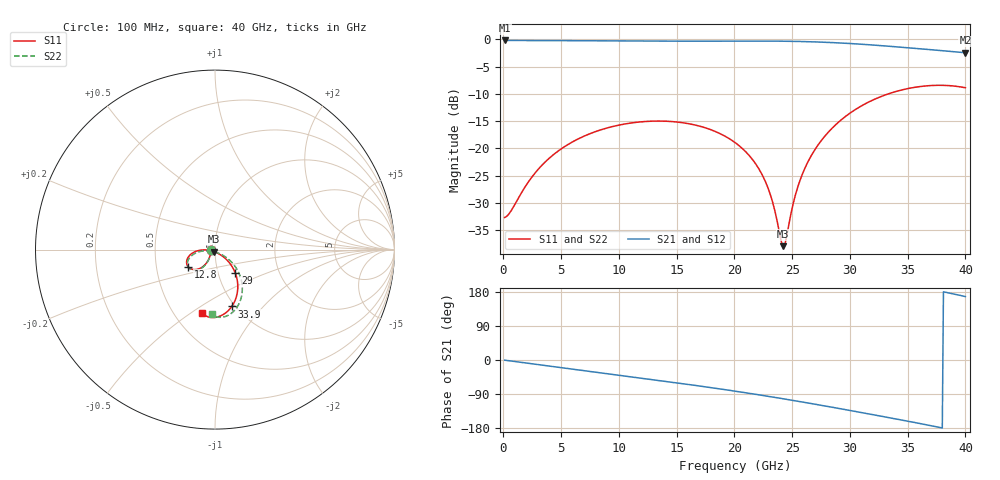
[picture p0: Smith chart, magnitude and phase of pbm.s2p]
! E_s8_L1L8_p1000_round_g2: reduced via model, differential mode (per line 50 ohm)
# Hz S RI R 50
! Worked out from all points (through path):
!   400 points, 100 MHz to 40 GHz, reference 50 ohm
!   highest |S21| = -0.20 dB at 100 MHz (marker M1); lowest = -2.5 dB at 40 GHz (marker M2)
!   group delay of S21, straight-line fit = 13.1 ps
!   lowest |S11| = -38.0 dB at 24.2 GHz (marker M3), VSWR 1.03, Z = 49.4 - j1.12 ohm
!   |S11| at or under -10 dB: start of sweep to 33.33 GHz
!   |S22| runs from -37.8 to -8.4 dB; largest |S21 - S12| = 0
!   S11 on the Smith chart (normalised r, x): 100 MHz: 0.95, -0.00; 12.8 GHz: 0.73, -0.15; 29 GHz: 1.21, -0.33; 33.9 GHz: 0.97, -0.69; 40 GHz: 0.68, -0.55
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1e8  -0.0231 -0.00187  0.9769 -0.00685  0.9769 -0.00685  -0.0231 -0.00188
3.3e9  -0.0373 -0.0585  0.949 -0.2235  0.949 -0.2235  -0.0365 -0.059
6.8e9  -0.0767 -0.1009  0.8623 -0.4439  0.8623 -0.4439  -0.074 -0.1029
9.7e9  -0.1159 -0.1115  0.7522 -0.6049  0.7522 -0.6049  -0.1116 -0.1157
1.28e10  -0.1488 -0.0967  0.6021 -0.7504  0.6021 -0.7504  -0.1438 -0.104
1.34e10  -0.1528 -0.0912  0.5695 -0.7751  0.5695 -0.7751  -0.1478 -0.099
1.72e10  -0.1509 -0.045  0.3362 -0.9023  0.3362 -0.9023  -0.1476 -0.055
2.01e10  -0.1114 -0.0118  0.1273 -0.9568  0.1273 -0.9568  -0.1102 -0.0205
2.15e10  -0.0805 -0.00305  0.0178 -0.9654  0.0178 -0.9654  -0.0799 -0.00986
2.26e10  -0.0518 -0.00183  -0.0712 -0.9623  -0.0712 -0.9623  -0.0514 -0.00651
2.33e10  -0.032 -0.00421  -0.1286 -0.9554  -0.1286 -0.9554  -0.0315 -0.00727
2.42e10  -0.00561 -0.0113  -0.2028 -0.9402  -0.2028 -0.9402  -0.00457 -0.012
2.44e10  0.000335 -0.0136  -0.2193 -0.9359  -0.2193 -0.9359  0.00156 -0.0137
2.5e10  0.0181 -0.0218  -0.2685 -0.9207  -0.2685 -0.9207  0.0201 -0.0202
2.55e10  0.0328 -0.0304  -0.3091 -0.9054  -0.3091 -0.9054  0.0355 -0.0273
2.67e10  0.0659 -0.0573  -0.4037 -0.8594  -0.4037 -0.8594  0.0713 -0.0505
2.9e10  0.1132 -0.1312  -0.5665 -0.7352  -0.5665 -0.7352  0.1269 -0.118
3.1e10  0.127 -0.2097  -0.6777 -0.5953  -0.6777 -0.5953  0.1508 -0.1934
3.34e10  0.1035 -0.3006  -0.7646 -0.4028  -0.7646 -0.4028  0.1408 -0.2851
3.39e10  0.0935 -0.3167  -0.7761 -0.3608  -0.7761 -0.3608  0.1336 -0.3021
3.7e10  0.00713 -0.3767  -0.7982 -0.0946  -0.7982 -0.0946  0.06 -0.372
4e10  -0.0723 -0.3523  -0.7347 0.1649  -0.7347 0.1649  -0.0179 -0.3591
